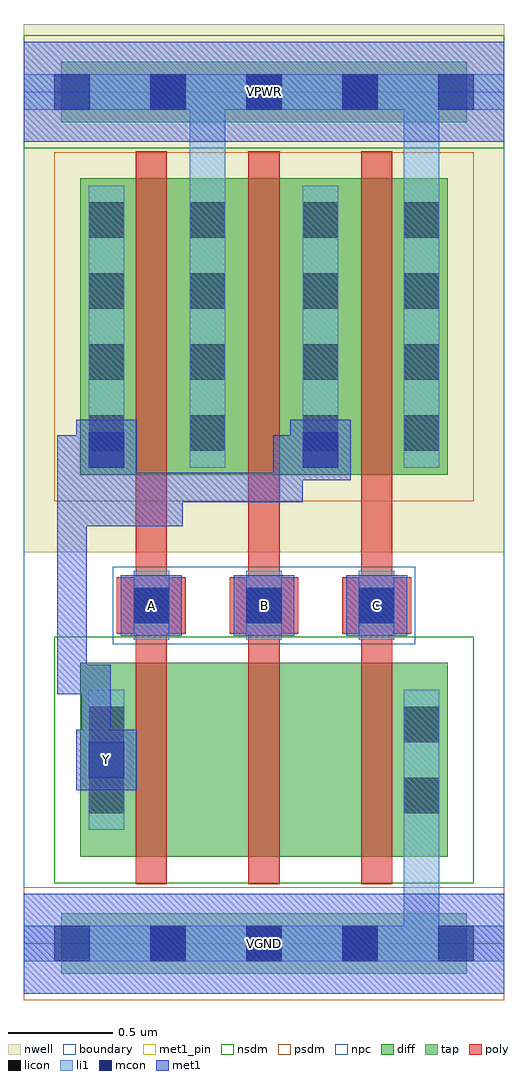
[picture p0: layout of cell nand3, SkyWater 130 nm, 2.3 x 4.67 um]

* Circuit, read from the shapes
.subckt nand3 A B C VGND VPWR Y
XM1 n1 A Y VGND sky130_fd_pr__nfet_01v8 w=0.93 l=0.15
XM2 n2 B n1 VGND sky130_fd_pr__nfet_01v8 w=0.93 l=0.15
XM3 VGND C n2 VGND sky130_fd_pr__nfet_01v8 w=0.93 l=0.15
XM4 VPWR A Y VPWR sky130_fd_pr__pfet_01v8 w=1.42 l=0.15
XM5 Y B VPWR VPWR sky130_fd_pr__pfet_01v8 w=1.42 l=0.15
XM6 VPWR C Y VPWR sky130_fd_pr__pfet_01v8 w=1.42 l=0.15
.ends

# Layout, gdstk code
import gdstk
lib = gdstk.Library(unit=1e-6, precision=1e-09)
def R(c, l, rs):  # rectangles x0, y0, x1, y1
    for r in rs: c.add(gdstk.rectangle(r[:2], r[2:], *l))
def A(c, l, x, y, w, h, nx, ny, dx, dy):  # array of equal rectangles
    R(c, l, [(x+i*dx, y+j*dy, x+i*dx+w, y+j*dy+h) for i in range(nx) for j in range(ny)])
nwell = (64, 20)
diff = (65, 20)
tap = (65, 44)
poly = (66, 20)
licon = (66, 44)
li1 = (67, 20)
mcon = (67, 44)
met1_pin = (68, 16)
met1 = (68, 20)
nsdm = (93, 44)
psdm = (94, 20)
npc = (95, 20)
boundary = (235, 4)

nand3 = lib.new_cell('nand3')
R(nand3, nwell, [(0,1.875,2.3,4.405)])
R(nand3, diff, [(0.27,0.415,2.03,1.345), (0.27,2.245,2.03,3.665)])
R(nand3, tap, [(0.18,-0.145,2.12,0.145), (0.18,3.935,2.12,4.225)])
A(nand3, poly, 0.535, 0.285, 0.15, 3.51, 3, 1, 0.54, 0)
A(nand3, poly, 0.445, 1.485, 0.33, 0.27, 3, 1, 0.54, 0)
A(nand3, licon, 0.605, -0.085, 0.17, 0.17, 3, 2, 0.46, 4.08)
A(nand3, licon, 0.525, 1.535, 0.17, 0.17, 3, 1, 0.54, 0)
A(nand3, licon, 0.31, 2.36, 0.17, 0.17, 1, 4, 0, 0.34)
A(nand3, licon, 0.795, 2.36, 0.17, 0.17, 1, 4, 0, 0.34)
A(nand3, licon, 1.335, 2.36, 0.17, 0.17, 1, 4, 0, 0.34)
A(nand3, licon, 1.82, 2.36, 0.17, 0.17, 1, 4, 0, 0.34)
R(nand3, licon, [(0.31,0.625,0.48,0.795), (1.82,0.625,1.99,0.795), (0.31,0.965,0.48,1.135), (1.82,0.965,1.99,1.135)])
A(nand3, li1, 0.525, 1.455, 0.17, 0.33, 3, 1, 0.54, 0)
R(nand3, li1, [(0,-0.085,2.3,0.085), (1.82,-0.085,1.99,1.215), (0.31,0.545,0.48,1.215), (1.82,0.545,1.99,1.215), (0.31,2.28,0.48,3.63), (0.795,2.28,0.965,3.63), (0.795,2.28,0.965,4.165), (1.335,2.28,1.505,3.63), (1.82,2.28,1.99,3.63), (1.82,2.28,1.99,4.165), (0,3.995,2.3,4.165)])
A(nand3, mcon, 0.145, -0.085, 0.17, 0.17, 5, 2, 0.46, 4.08)
A(nand3, mcon, 0.525, 1.535, 0.17, 0.17, 3, 1, 0.54, 0)
R(nand3, mcon, [(0.31,0.795,0.48,0.965), (0.31,2.28,0.48,2.45), (1.335,2.28,1.505,2.45)])
A(nand3, met1_pin, 0.465, 1.475, 0.29, 0.29, 3, 1, 0.54, 0)
R(nand3, met1_pin, [(0,-0.24,2.3,0.24), (0.25,0.735,0.54,1.025), (0,3.84,2.3,4.32)])
A(nand3, met1, 0.465, 1.475, 0.29, 0.29, 3, 1, 0.54, 0)
R(nand3, met1, [(0,-0.24,2.3,0.24), (0.25,0.735,0.54,1.025), (0.275,0.85,0.415,0.99), (0.275,0.85,0.415,1.335), (0.16,1.195,0.415,1.335), (0.16,1.195,0.3,2.255), (0.16,2,0.76,2.14), (0.62,2,0.76,2.255), (0.16,2.115,0.3,2.435), (0.62,2.115,1.335,2.255), (1.195,2.115,1.335,2.435), (0.25,2.14,0.54,2.22), (0.54,2.14,0.62,2.22), (0.25,2.22,0.54,2.51), (0.54,2.22,0.62,2.255), (1.275,2.22,1.565,2.51), (0.16,2.295,0.465,2.435), (1.195,2.295,1.49,2.435), (0,3.84,2.3,4.32)])
R(nand3, nsdm, [(0.145,0.29,2.155,1.47), (0,3.81,2.3,4.35)])
R(nand3, psdm, [(0,-0.27,2.3,0.27), (0.145,2.12,2.155,3.79)])
R(nand3, npc, [(0.425,1.435,1.875,1.805)])
R(nand3, boundary, [(0,0,2.3,4.08)])
nand3.add(gdstk.Label('A', (0.61,1.62), layer=68, texttype=5))
nand3.add(gdstk.Label('B', (1.15,1.62), layer=68, texttype=5))
nand3.add(gdstk.Label('C', (1.69,1.62), layer=68, texttype=5))
nand3.add(gdstk.Label('Y', (0.395,0.88), layer=68, texttype=5))
nand3.add(gdstk.Label('VPWR', (1.15,4.08), layer=68, texttype=5))
nand3.add(gdstk.Label('VGND', (1.15,0), layer=68, texttype=5))
nand3.add(gdstk.Label('A', (0.61,1.62), layer=68, texttype=16))
nand3.add(gdstk.Label('B', (1.15,1.62), layer=68, texttype=16))
nand3.add(gdstk.Label('C', (1.69,1.62), layer=68, texttype=16))
nand3.add(gdstk.Label('Y', (0.395,0.88), layer=68, texttype=16))
nand3.add(gdstk.Label('VPWR', (1.15,4.08), layer=68, texttype=16))
nand3.add(gdstk.Label('VGND', (1.15,0), layer=68, texttype=16))

lib.write_gds('nand3.gds')
